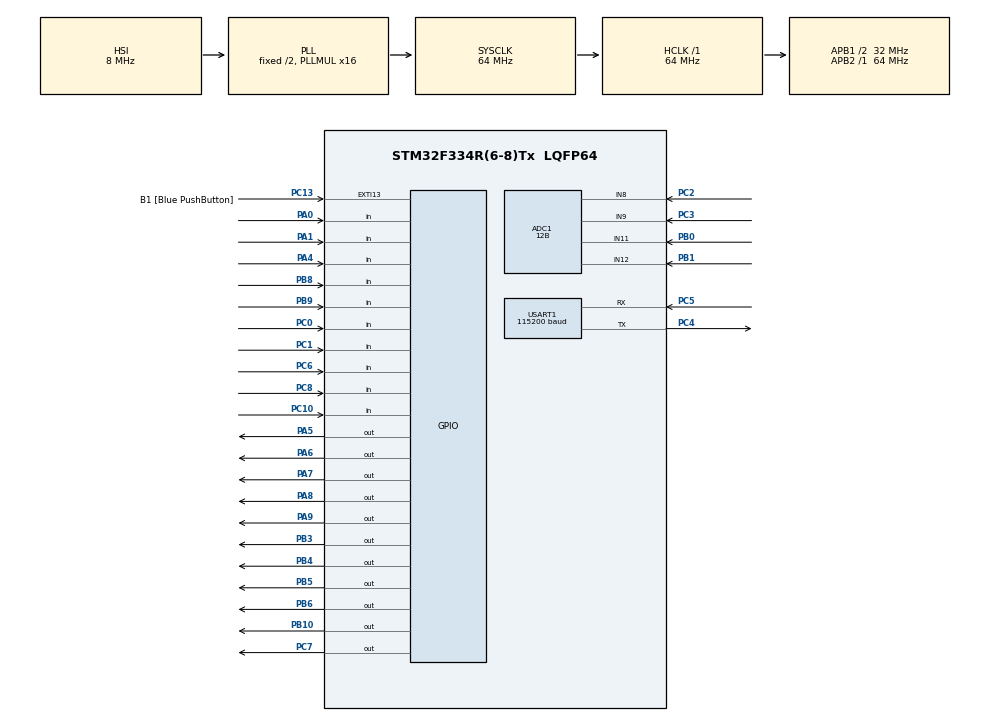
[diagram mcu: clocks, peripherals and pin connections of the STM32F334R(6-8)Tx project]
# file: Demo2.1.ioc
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ADC1.Channel-0\#ChannelRegularConversion=ADC_CHANNEL_9
ADC1.Channel-1\#ChannelRegularConversion=ADC_CHANNEL_8
ADC1.Channel-2\#ChannelRegularConversion=ADC_CHANNEL_12
ADC1.Channel-3\#ChannelRegularConversion=ADC_CHANNEL_11
ADC1.ClockPrescaler=ADC_CLOCK_ASYNC_DIV1
ADC1.ContinuousConvMode=ENABLE
ADC1.DMAContinuousRequests=DISABLE
ADC1.DataAlign=ADC_DATAALIGN_RIGHT
ADC1.DiscontinuousConvMode=DISABLE
ADC1.EOCSelection=ADC_EOC_SINGLE_CONV
ADC1.EnableAnalogWatchDog1=false
ADC1.EnableAnalogWatchDog2=false
ADC1.EnableAnalogWatchDog3=false
ADC1.EnableInjectedConversion=ENABLE
ADC1.EnableRegularConversion=ENABLE
ADC1.ExternalTrigConv=ADC_SOFTWARE_START
ADC1.ExternalTrigConvEdge=ADC_EXTERNALTRIGCONVEDGE_NONE
ADC1.InjNumberOfConversion=0
ADC1.LowPowerAutoWait=DISABLE
ADC1.NbrOfConversion=4
ADC1.NbrOfConversionFlag=1
ADC1.Offset-0\#ChannelRegularConversion=0
ADC1.Offset-1\#ChannelRegularConversion=0
ADC1.Offset-2\#ChannelRegularConversion=0
ADC1.Offset-3\#ChannelRegularConversion=0
ADC1.OffsetNumber-0\#ChannelRegularConversion=ADC_OFFSET_NONE
ADC1.OffsetNumber-1\#ChannelRegularConversion=ADC_OFFSET_NONE
ADC1.OffsetNumber-2\#ChannelRegularConversion=ADC_OFFSET_NONE
ADC1.OffsetNumber-3\#ChannelRegularConversion=ADC_OFFSET_NONE
ADC1.Overrun=ADC_OVR_DATA_OVERWRITTEN
ADC1.Rank-0\#ChannelRegularConversion=1
ADC1.Rank-1\#ChannelRegularConversion=2
ADC1.Rank-2\#ChannelRegularConversion=3
ADC1.Rank-3\#ChannelRegularConversion=4
ADC1.Resolution=ADC_RESOLUTION_12B
ADC1.SamplingTime-0\#ChannelRegularConversion=ADC_SAMPLETIME_181CYCLES_5
ADC1.SamplingTime-1\#ChannelRegularConversion=ADC_SAMPLETIME_181CYCLES_5
ADC1.SamplingTime-2\#ChannelRegularConversion=ADC_SAMPLETIME_181CYCLES_5
ADC1.SamplingTime-3\#ChannelRegularConversion=ADC_SAMPLETIME_181CYCLES_5
ADC1.ScanConvMode=ADC_SCAN_ENABLE
ADC1.SubFamily=STM32F334x8
ADC1.master=1
Mcu.Family=STM32F3
Mcu.Name=STM32F334R(6-8)Tx
Mcu.Package=LQFP64
NVIC.ADC1_2_IRQn=true\:0\:0\:false\:false\:true\:true
NVIC.PriorityGroup=NVIC_PRIORITYGROUP_0
NVIC.USART1_IRQn=true\:0\:0\:false\:false\:true\:true
PA0.Signal=GPIO_Input
PA1.Signal=GPIO_Input
PA13.GPIO_Label=TMS
PA13.Mode=Serial_Wire
PA13.Signal=SYS_JTMS-SWDIO
PA14.GPIO_Label=TCK
PA14.Mode=Serial_Wire
PA14.Signal=SYS_JTCK-SWCLK
PA2.GPIO_Label=USART_TX
PA2.Signal=USART2_TX
PA3.GPIO_Label=USART_RX
PA3.Signal=USART2_RX
PA4.Signal=GPIO_Input
PA5.Signal=GPIO_Output
PA6.Signal=GPIO_Output
PA7.Signal=GPIO_Output
PA8.Signal=GPIO_Output
PA9.Signal=GPIO_Output
PB0.Mode=IN11-Single-Ended
PB0.Signal=ADC1_IN11
PB1.Mode=IN12-Single-Ended
PB1.Signal=ADC1_IN12
PB10.Signal=GPIO_Output
PB3.Signal=GPIO_Output
PB4.Signal=GPIO_Output
PB5.Signal=GPIO_Output
PB6.Signal=GPIO_Output
PB8.Signal=GPIO_Input
PB9.Signal=GPIO_Input
PC0.Signal=GPIO_Input
PC1.Signal=GPIO_Input
PC10.Signal=GPIO_Input
PC13.GPIO_Label=B1 [Blue PushButton]
PC13.GPIO_ModeDefaultEXTI=GPIO_MODE_IT_FALLING
PC13.Signal=GPXTI13
PC14\ /\ OSC32_IN.Signal=RCC_OSC32_IN
PC15\ /\ OSC32_OUT.GPIO_Label=RCC_OSC32_OUT
PC15\ /\ OSC32_OUT.Signal=RCC_OSC32_OUT
PC2.Signal=ADCx_IN8
PC3.Signal=ADCx_IN9
PC4.Mode=Asynchronous
PC4.Signal=USART1_TX
PC5.Mode=Asynchronous
PC5.Signal=USART1_RX
PC6.Signal=GPIO_Input
PC7.Signal=GPIO_Output
PC8.Signal=GPIO_Input
PF0\ /\ OSC_IN.Signal=RCC_OSC_IN
PF1\ /\ OSC_OUT.Signal=RCC_OSC_OUT
ProjectManager.HeapSize=0x200
ProjectManager.StackSize=0x400
ProjectManager.TargetToolchain=TrueSTUDIO
RCC.ADC12PRES=RCC_ADC12PLLCLK_DIV128
RCC.AHBFreq_Value=64000000
RCC.APB1CLKDivider=RCC_HCLK_DIV2
RCC.APB1Freq_Value=32000000
RCC.APB1TimFreq_Value=64000000
RCC.APB2Freq_Value=64000000
RCC.APB2TimFreq_Value=64000000
RCC.CortexFreq_Value=64000000
RCC.FLatency-AdvancedSettings=FLASH_LATENCY_2
RCC.HCLKFreq_Value=64000000
RCC.HSE_VALUE=8000000
RCC.HSI_VALUE=8000000
RCC.LSE_VALUE=32768
RCC.PLLMUL=RCC_PLL_MUL16
RCC.SYSCLKFreq_VALUE=64000000
RCC.SYSCLKSourceVirtual=RCC_SYSCLKSOURCE_PLLCLK
SH.ADCx_IN8.0=ADC1_IN8,IN8-Single-Ended
SH.ADCx_IN9.0=ADC1_IN9,IN9-Single-Ended
USART1.BaudRate=115200
USART1.VirtualMode-Asynchronous=VM_ASYNC
USART1.WordLength=WORDLENGTH_8B
board=NUCLEO-F334R8

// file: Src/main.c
/**
  ******************************************************************************
  * @file           : main.c
  * @brief          : Main program body
  ******************************************************************************
  ** This notice applies to any and all portions of this file
  * that are not between comment pairs USER CODE BEGIN and
  * USER CODE END. Other portions of this file, whether
  * inserted by the user or by software development tools
  * are owned by their respective copyright owners.
  *
  * COPYRIGHT(c) 2018 STMicroelectronics
  *
  * Redistribution and use in source and binary forms, with or without modification,
  * are permitted provided that the following conditions are met:
  *   1. Redistributions of source code must retain the above copyright notice,
  *      this list of conditions and the following disclaimer.
  *   2. Redistributions in binary form must reproduce the above copyright notice,
  *      this list of conditions and the following disclaimer in the documentation
  *      and/or other materials provided with the distribution.
  *   3. Neither the name of STMicroelectronics nor the names of its contributors
  *      may be used to endorse or promote products derived from this software
  *      without specific prior written permission.
  *
  * THIS SOFTWARE IS PROVIDED BY THE COPYRIGHT HOLDERS AND CONTRIBUTORS "AS IS"
  * AND ANY EXPRESS OR IMPLIED WARRANTIES, INCLUDING, BUT NOT LIMITED TO, THE
  * IMPLIED WARRANTIES OF MERCHANTABILITY AND FITNESS FOR A PARTICULAR PURPOSE ARE
  * DISCLAIMED. IN NO EVENT SHALL THE COPYRIGHT HOLDER OR CONTRIBUTORS BE LIABLE
  * FOR ANY DIRECT, INDIRECT, INCIDENTAL, SPECIAL, EXEMPLARY, OR CONSEQUENTIAL
  * DAMAGES (INCLUDING, BUT NOT LIMITED TO, PROCUREMENT OF SUBSTITUTE GOODS OR
  * SERVICES; LOSS OF USE, DATA, OR PROFITS; OR BUSINESS INTERRUPTION) HOWEVER
  * CAUSED AND ON ANY THEORY OF LIABILITY, WHETHER IN CONTRACT, STRICT LIABILITY,
  * OR TORT (INCLUDING NEGLIGENCE OR OTHERWISE) ARISING IN ANY WAY OUT OF THE USE
  * OF THIS SOFTWARE, EVEN IF ADVISED OF THE POSSIBILITY OF SUCH DAMAGE.
  *
  ******************************************************************************
  */
#include "main.h"
#include "stm32f3xx_hal.h"

/* USER CODE BEGIN Includes */
#include <math.h>
#include <stdio.h>
/* USER CODE END Includes */

ADC_HandleTypeDef hadc1;

UART_HandleTypeDef huart1;

/* USER CODE BEGIN PV */
/* Private variables ---------------------------------------------------------*/
volatile uint8_t k_request = 0;
volatile uint8_t ReceiveFlag;
volatile uint8_t channel = 1;
volatile uint8_t LEDmsecCntr = 0;
volatile uint8_t LEDmsecFlag = 0;
volatile uint8_t FLOWmsecCntr = 0;
volatile uint32_t FLOW = 0;
volatile uint8_t ADCmsecCntr = 0;
volatile uint8_t ADCmsecFlag = 0;
volatile uint8_t cplt = 1;
volatile uint8_t noflow = 1;
volatile uint8_t state = 0;
volatile uint8_t prev = 0;
float Vdd = 3.3;
uint32_t V_RMS;
uint16_t I_RMS;
uint16_t TEMP1 = 0;
uint16_t TEMP2 = 0;
uint8_t num;
int Element = 0;
int ValveOpen = 0;
int kprocess = 1;

int16_t bits = 4095;
uint8_t TransmitBufferA[] = "$A,18301088\r\n";
uint8_t TransmitBufferF[] = "$F\r\n";
uint8_t TransmitBufferG[] = "$G,0\r\n";
uint8_t TransmitBufferGT[] = "$G,00\r\n";
uint8_t TransmitBufferGH[] = "$G,000\r\n";
uint8_t TransmitBufferK[35] = "$K,\r\n";

uint8_t ReceiveBuffer[1];
uint8_t count = 0;
uint8_t factorone = 0;
uint8_t factorten = 0;
uint8_t factorhundred = 0;
char HoldBuffer[10];
uint8_t TempBuffer[10];
uint8_t TempBufferD[10];
uint8_t SizeG = 10;
int16_t SignedInteger;
int16_t TempInteger = 0;
int16_t CurrentSignal;
int16_t VoltageSignal;
int16_t ADC_CurrentArray[71];
int16_t ADC_VoltageArray[71];
int16_t ADC_Temp1Array[71];
int16_t ADC_Temp2Array[71];
float VALUE_CurrentArray[71];
float VALUE_VoltageArray[71];
float VALUE_Temp1Array[71];
float VALUE_Temp2Array[71];
volatile uint8_t  ADCReceive = 1;
int c = 0;
int v = 0;
int t1 = 0;
int t2 = 0;
int bounce = 0;
float vnew[100];
float inew[100];
int inumvalue = 0;
int vnumvalue = 0;
int position = 0;

char ibuff[30];
char vbuff[30];
char t1buff[30];
char t2buff[30];
char flowbuff[30];
/* USER CODE END PV */

void SystemClock_Config(void);
static void MX_GPIO_Init(void);
static void MX_USART1_UART_Init(void);
static void MX_ADC1_Init(void);

/* USER CODE BEGIN PFP */
/* Private function prototypes -----------------------------------------------*/
void HAL_SYSTICK_Callback(void);
void Number_Display(int8_t d1,int8_t d2,int8_t d3,int8_t d4);
void Disable_Digits(void);
uint8_t Number_Maker(int16_t digit);
uint8_t Digit_Maker(int8_t digit);
void set_all(void);
void reset_all(void);
void ADCprocess(void);
uint8_t convertfromstring (char* string, int16_t* value);
uint8_t converttostring (int16_t* value, char* string, int16_t length);
void HAL_ADC_ConvCpltCallback(ADC_HandleTypeDef* hadc);
float vconvert(int16_t* v_convarray,float*v_address);
float iconvert(int16_t* i_convarray,float*i_address);
float t1convert(int16_t* t1_convarray);
float t2convert(int16_t* t2_convarray);

uint8_t Int2String(char* output_string, int32_t val, uint8_t maxlen);
//void InputK(void);
/* USER CODE END PFP */

int main(void)
{

  /* MCU Configuration----------------------------------------------------------*/

  /* Reset of all peripherals, Initializes the Flash interface and the Systick. */
  HAL_Init();

  /* Configure the system clock */
  SystemClock_Config();

  /* Initialize all configured peripherals */
  MX_GPIO_Init();
  MX_USART1_UART_Init();
  MX_ADC1_Init();
  /* USER CODE BEGIN 2 */
  HAL_UART_Receive_IT(&huart1, ReceiveBuffer,1);

  /* USER CODE END 2 */

  /* Infinite loop */
  /* USER CODE BEGIN WHILE */
  while (1)
  {

	  HAL_ADC_Start_IT(&hadc1);
	  Number_Maker(TempInteger);
	  if (ReceiveFlag)
	  {
	  	ReceiveFlag = 0;
	  	HAL_UART_Receive_IT(&huart1, ReceiveBuffer,1);
	  	HoldBuffer[count++]= ReceiveBuffer[0];

	  	if (ReceiveBuffer[0] == '\n')
	  	{
	  		HoldBuffer[count] = '\0';
	  		convertfromstring(HoldBuffer, &SignedInteger);

	  		if (HoldBuffer[0] == '$')
	  		{
	  			switch(HoldBuffer[1])
	  			{
	    	  	  	  	  	case 'A':
	    				    	HAL_UART_Transmit(&huart1, TransmitBufferA,sizeof(TransmitBufferA)-1,5);
	    				    	break;
	    	  	  	  	  	case 'B':
	    	  	  	  	  		ValveOpen = HoldBuffer[3];
	    	  	  	  	  		ValveOpen = ValveOpen - 48;
	    	  	  	  		    break;
	    	  	  	  		case 'D':
	    	  	  	  	  		Element = HoldBuffer[3];
	    	  	  	  	  		Element = Element - 48;
	    	  	  	  		    break;
	    				    case 'F':
	    				       	TempBuffer[0] = HoldBuffer[3];
	    				    	TempBuffer[1] = HoldBuffer[4];
	    				    	TempBuffer[2] = HoldBuffer[5];
	    				    	TempBuffer[3] = HoldBuffer[6];
	    				    	TempBuffer[4] = HoldBuffer[7];
	    				    	convertfromstring(HoldBuffer+3, &TempInteger);

	    				    	HAL_UART_Transmit(&huart1, TransmitBufferF,sizeof(TransmitBufferF)-1,5);
	    				    	break;
	    				    case 'G':
	    				    	if(TempBuffer[1] == '\r' && TempBuffer[2] == '\n')
	    				    	{
	    				    		TransmitBufferG[3] = TempBuffer[0];
	    				    		TransmitBufferG[4] = '\r';
	    				    		TransmitBufferG[5] = '\n';
	    				    		HAL_UART_Transmit(&huart1, TransmitBufferG,6,5);
	    				    	}
	    				    	if(TempBuffer[2] == '\r' && TempBuffer[3] == '\n')
	    						{
	    							TransmitBufferGT[3] = TempBuffer[0];
	    							TransmitBufferGT[4] = TempBuffer[1];
	    							TransmitBufferGT[5] = '\r';
	    							TransmitBufferGT[6] = '\n';
	    							HAL_UART_Transmit(&huart1, TransmitBufferGT,7,5);
	    						}
	    				    	if(TempBuffer[3] == '\r' && TempBuffer[4] == '\n')
	    						{
	    							TransmitBufferGH[3] = TempBuffer[0];
	    							TransmitBufferGH[4] = TempBuffer[1];
	    							TransmitBufferGH[5] = TempBuffer[2];
	    							TransmitBufferGH[6] = '\r';
	    							TransmitBufferGH[7] = '\n';
	    							HAL_UART_Transmit(&huart1, TransmitBufferGH,8,5);
	    						}
	    				    	break;
	    				    case 'K':
	    				    {
//	    				      	HAL_ADC_Stop(&hadc1);
	    				    	I_RMS = iconvert(ADC_CurrentArray,VALUE_CurrentArray);
	    				    	V_RMS = vconvert(ADC_VoltageArray,VALUE_VoltageArray);
	    				    	TEMP1 = t1convert(ADC_Temp1Array);
	    				    	TEMP2 = t2convert(ADC_Temp2Array);
	    				    	//kprocess = 1;
	    				      	num = Int2String(ibuff,I_RMS,10);
	    				      	inumvalue = num;
	    				      	position = 3+inumvalue;
	    				      	while (num >0)
	    				      	{
	    				      		TransmitBufferK[position-num] = ibuff[inumvalue-num];
									num--;
	    				      	}
	    				      	TransmitBufferK[position] = 0x2C;
	    				      	position = position + 1;
	    				      	num = Int2String(vbuff,V_RMS,10);
	    				      	vnumvalue = num;
	    				      	position = position + vnumvalue;
	    				      	while (num >0)
	    				      	{
	    				      		TransmitBufferK[position-num] = vbuff[vnumvalue-num];
									num--;
	    				      	}
	    				      	TransmitBufferK[position] = 0x2C;
	    				      	position = position + 1;
	    				      	num = Int2String(t1buff,TEMP1,10);
	    				      	vnumvalue = num;
	    				      	position = position + vnumvalue;
	    				      	while (num >0)
	    				      	{
	    				      		TransmitBufferK[position-num] = t1buff[vnumvalue-num];
									num--;
	    				      	}
	    				      	TransmitBufferK[position] = 0x2C;
	    				      	position++;
	    				      	num = Int2String(t2buff,TEMP2,10);
	    				      	vnumvalue = num;
	    				      	position = position + vnumvalue;
	    				      	while (num >0)
	    				      	{
	    				      		TransmitBufferK[position-num] = t2buff[vnumvalue-num];
									num--;
	    				      	}
	    				      	TransmitBufferK[position] = 0x2C;
	    				      	position++;
	    				      	num = Int2String(flowbuff,FLOW,10);
	    				      	vnumvalue = num;
	    				      	position = position + vnumvalue;
	    				      	while (num >0)
	    				      	{
	    				      		TransmitBufferK[position-num] = flowbuff[vnumvalue-num];
									num--;
	    				      	}
	    				      	TransmitBufferK[position] = 0x2C;
	    				      	position++;
    				      		TransmitBufferK[position] = 'O';
    				      		position++;

	    				      	if(Element==1)
	    				      	{
	    				      		TransmitBufferK[position] = 'N';
	    				      		position++;
	    				      	}
	    				      	if(Element==0)
	    				      	{
	    				      		TransmitBufferK[position] = 'F';
	    				      		position++;
	    				      		TransmitBufferK[position] = 'F';
	    				      		position++;
	    				      	}
	    				      	TransmitBufferK[position] = 0x2C;
	    				      	position++;
	    				      	if(ValveOpen==1)
	    				      	{
	    				      		TransmitBufferK[position] = 'O';
	    				      		position++;
	    				      		TransmitBufferK[position] = 'P';
	    				      		position++;
	    				      		TransmitBufferK[position] = 'E';
	    				      		position++;
    				      			TransmitBufferK[position] = 'N';
    				      			position++;
	    				      	}
    				      		if(ValveOpen==0)
	    				      	{
	    				      		TransmitBufferK[position] = 'C';
	    				      		position++;
	    				      		TransmitBufferK[position] = 'L';
	    				      		position++;
	    				      		TransmitBufferK[position] = 'O';
	    				      		position++;
    				      			TransmitBufferK[position] = 'S';
    				      			position++;
	    				      		TransmitBufferK[position] = 'E';
	    				      		position++;
	    				      		TransmitBufferK[position] = 'D';
	    				      		position++;
	    				    	}

				      		TransmitBufferK[position] = '\r';
				      		position++;
				      		TransmitBufferK[position] = '\n';
				      		HAL_UART_Transmit(&huart1, TransmitBufferK,position+1,5);
	    				    }
	    						break;

	  			}
	  		}
	  		count = 0;
	  	}

	  }

  /* USER CODE END WHILE */

  }

}

void SystemClock_Config(void)
{

  RCC_OscInitTypeDef RCC_OscInitStruct;
  RCC_ClkInitTypeDef RCC_ClkInitStruct;
  RCC_PeriphCLKInitTypeDef PeriphClkInit;

    /**Initializes the CPU, AHB and APB busses clocks
    */
  RCC_OscInitStruct.OscillatorType = RCC_OSCILLATORTYPE_HSI;
  RCC_OscInitStruct.HSIState = RCC_HSI_ON;
  RCC_OscInitStruct.HSICalibrationValue = 16;
  RCC_OscInitStruct.PLL.PLLState = RCC_PLL_ON;
  RCC_OscInitStruct.PLL.PLLSource = RCC_PLLSOURCE_HSI;
  RCC_OscInitStruct.PLL.PLLMUL = RCC_PLL_MUL16;
  if (HAL_RCC_OscConfig(&RCC_OscInitStruct) != HAL_OK)
  {
    _Error_Handler(__FILE__, __LINE__);
  }

    /**Initializes the CPU, AHB and APB busses clocks
    */
  RCC_ClkInitStruct.ClockType = RCC_CLOCKTYPE_HCLK|RCC_CLOCKTYPE_SYSCLK
                              |RCC_CLOCKTYPE_PCLK1|RCC_CLOCKTYPE_PCLK2;
  RCC_ClkInitStruct.SYSCLKSource = RCC_SYSCLKSOURCE_PLLCLK;
  RCC_ClkInitStruct.AHBCLKDivider = RCC_SYSCLK_DIV1;
  RCC_ClkInitStruct.APB1CLKDivider = RCC_HCLK_DIV2;
  RCC_ClkInitStruct.APB2CLKDivider = RCC_HCLK_DIV1;

  if (HAL_RCC_ClockConfig(&RCC_ClkInitStruct, FLASH_LATENCY_2) != HAL_OK)
  {
    _Error_Handler(__FILE__, __LINE__);
  }

  PeriphClkInit.PeriphClockSelection = RCC_PERIPHCLK_USART1|RCC_PERIPHCLK_ADC12;
  PeriphClkInit.Usart1ClockSelection = RCC_USART1CLKSOURCE_PCLK1;
  PeriphClkInit.Adc12ClockSelection = RCC_ADC12PLLCLK_DIV128;
  if (HAL_RCCEx_PeriphCLKConfig(&PeriphClkInit) != HAL_OK)
  {
    _Error_Handler(__FILE__, __LINE__);
  }

    /**Configure the Systick interrupt time
    */
  HAL_SYSTICK_Config(HAL_RCC_GetHCLKFreq()/1000);

    /**Configure the Systick
    */
  HAL_SYSTICK_CLKSourceConfig(SYSTICK_CLKSOURCE_HCLK);

  /* SysTick_IRQn interrupt configuration */
  HAL_NVIC_SetPriority(SysTick_IRQn, 0, 0);
}

/* ADC1 init function */
static void MX_ADC1_Init(void)
{

  ADC_MultiModeTypeDef multimode;
  ADC_ChannelConfTypeDef sConfig;

    /**Common config
    */
  hadc1.Instance = ADC1;
  hadc1.Init.ClockPrescaler = ADC_CLOCK_ASYNC_DIV1;
  hadc1.Init.Resolution = ADC_RESOLUTION_12B;
  hadc1.Init.ScanConvMode = ADC_SCAN_ENABLE;
  hadc1.Init.ContinuousConvMode = ENABLE;
  hadc1.Init.DiscontinuousConvMode = DISABLE;
  hadc1.Init.ExternalTrigConvEdge = ADC_EXTERNALTRIGCONVEDGE_NONE;
  hadc1.Init.ExternalTrigConv = ADC_SOFTWARE_START;
  hadc1.Init.DataAlign = ADC_DATAALIGN_RIGHT;
  hadc1.Init.NbrOfConversion = 4;
  hadc1.Init.DMAContinuousRequests = DISABLE;
  hadc1.Init.EOCSelection = ADC_EOC_SINGLE_CONV;
  hadc1.Init.LowPowerAutoWait = DISABLE;
  hadc1.Init.Overrun = ADC_OVR_DATA_OVERWRITTEN;
  if (HAL_ADC_Init(&hadc1) != HAL_OK)
  {
    _Error_Handler(__FILE__, __LINE__);
  }

    /**Configure the ADC multi-mode
    */
  multimode.Mode = ADC_MODE_INDEPENDENT;
  if (HAL_ADCEx_MultiModeConfigChannel(&hadc1, &multimode) != HAL_OK)
  {
    _Error_Handler(__FILE__, __LINE__);
  }

    /**Configure Regular Channel
    */
  sConfig.Channel = ADC_CHANNEL_9;
  sConfig.Rank = ADC_REGULAR_RANK_1;
  sConfig.SingleDiff = ADC_SINGLE_ENDED;
  sConfig.SamplingTime = ADC_SAMPLETIME_181CYCLES_5;
  sConfig.OffsetNumber = ADC_OFFSET_NONE;
  sConfig.Offset = 0;
  if (HAL_ADC_ConfigChannel(&hadc1, &sConfig) != HAL_OK)
  {
    _Error_Handler(__FILE__, __LINE__);
  }

    /**Configure Regular Channel
    */
  sConfig.Channel = ADC_CHANNEL_8;
  sConfig.Rank = ADC_REGULAR_RANK_2;
  if (HAL_ADC_ConfigChannel(&hadc1, &sConfig) != HAL_OK)
  {
    _Error_Handler(__FILE__, __LINE__);
  }

    /**Configure Regular Channel
    */
  sConfig.Channel = ADC_CHANNEL_12;
  sConfig.Rank = ADC_REGULAR_RANK_3;
  if (HAL_ADC_ConfigChannel(&hadc1, &sConfig) != HAL_OK)
  {
    _Error_Handler(__FILE__, __LINE__);
  }

    /**Configure Regular Channel
    */
  sConfig.Channel = ADC_CHANNEL_11;
  sConfig.Rank = ADC_REGULAR_RANK_4;
  if (HAL_ADC_ConfigChannel(&hadc1, &sConfig) != HAL_OK)
  {
    _Error_Handler(__FILE__, __LINE__);
  }

}

/* USART1 init function */
static void MX_USART1_UART_Init(void)
{

  huart1.Instance = USART1;
  huart1.Init.BaudRate = 115200;
  huart1.Init.WordLength = UART_WORDLENGTH_8B;
  huart1.Init.StopBits = UART_STOPBITS_1;
  huart1.Init.Parity = UART_PARITY_NONE;
  huart1.Init.Mode = UART_MODE_TX_RX;
  huart1.Init.HwFlowCtl = UART_HWCONTROL_NONE;
  huart1.Init.OverSampling = UART_OVERSAMPLING_16;
  huart1.Init.OneBitSampling = UART_ONE_BIT_SAMPLE_DISABLE;
  huart1.AdvancedInit.AdvFeatureInit = UART_ADVFEATURE_NO_INIT;
  if (HAL_UART_Init(&huart1) != HAL_OK)
  {
    _Error_Handler(__FILE__, __LINE__);
  }

}

/** Configure pins as
        * Analog
        * Input
        * Output
        * EVENT_OUT
        * EXTI
     PA2   ------> USART2_TX
     PA3   ------> USART2_RX
*/

static void MX_GPIO_Init(void)
{

  GPIO_InitTypeDef GPIO_InitStruct;

  /* GPIO Ports Clock Enable */
  __HAL_RCC_GPIOC_CLK_ENABLE();
  __HAL_RCC_GPIOF_CLK_ENABLE();
  __HAL_RCC_GPIOA_CLK_ENABLE();
  __HAL_RCC_GPIOB_CLK_ENABLE();

  /*Configure GPIO pin Output Level */
  HAL_GPIO_WritePin(GPIOA, GPIO_PIN_5|GPIO_PIN_6|GPIO_PIN_7|GPIO_PIN_8
                          |GPIO_PIN_9, GPIO_PIN_RESET);

  /*Configure GPIO pin Output Level */
  HAL_GPIO_WritePin(GPIOB, GPIO_PIN_10|GPIO_PIN_3|GPIO_PIN_4|GPIO_PIN_5
                          |GPIO_PIN_6, GPIO_PIN_RESET);

  /*Configure GPIO pin Output Level */
  HAL_GPIO_WritePin(GPIOC, GPIO_PIN_7, GPIO_PIN_RESET);

  /*Configure GPIO pin : B1_Pin */
  GPIO_InitStruct.Pin = B1_Pin;
  GPIO_InitStruct.Mode = GPIO_MODE_IT_FALLING;
  GPIO_InitStruct.Pull = GPIO_NOPULL;
  HAL_GPIO_Init(B1_GPIO_Port, &GPIO_InitStruct);

  /*Configure GPIO pins : PC0 PC1 PC6 PC8
                           PC10 */
  GPIO_InitStruct.Pin = GPIO_PIN_0|GPIO_PIN_1|GPIO_PIN_6|GPIO_PIN_8
                          |GPIO_PIN_10;
  GPIO_InitStruct.Mode = GPIO_MODE_INPUT;
  GPIO_InitStruct.Pull = GPIO_NOPULL;
  HAL_GPIO_Init(GPIOC, &GPIO_InitStruct);

  /*Configure GPIO pins : PA0 PA1 PA4 */
  GPIO_InitStruct.Pin = GPIO_PIN_0|GPIO_PIN_1|GPIO_PIN_4;
  GPIO_InitStruct.Mode = GPIO_MODE_INPUT;
  GPIO_InitStruct.Pull = GPIO_NOPULL;
  HAL_GPIO_Init(GPIOA, &GPIO_InitStruct);

  /*Configure GPIO pins : USART_TX_Pin USART_RX_Pin */
  GPIO_InitStruct.Pin = USART_TX_Pin|USART_RX_Pin;
  GPIO_InitStruct.Mode = GPIO_MODE_AF_PP;
  GPIO_InitStruct.Pull = GPIO_NOPULL;
  GPIO_InitStruct.Speed = GPIO_SPEED_FREQ_HIGH;
  GPIO_InitStruct.Alternate = GPIO_AF7_USART2;
  HAL_GPIO_Init(GPIOA, &GPIO_InitStruct);

  /*Configure GPIO pins : PA5 PA6 PA7 PA8
                           PA9 */
  GPIO_InitStruct.Pin = GPIO_PIN_5|GPIO_PIN_6|GPIO_PIN_7|GPIO_PIN_8
                          |GPIO_PIN_9;
  GPIO_InitStruct.Mode = GPIO_MODE_OUTPUT_PP;
  GPIO_InitStruct.Pull = GPIO_NOPULL;
  GPIO_InitStruct.Speed = GPIO_SPEED_FREQ_LOW;
  HAL_GPIO_Init(GPIOA, &GPIO_InitStruct);

  /*Configure GPIO pins : PB10 PB3 PB4 PB5
                           PB6 */
  GPIO_InitStruct.Pin = GPIO_PIN_10|GPIO_PIN_3|GPIO_PIN_4|GPIO_PIN_5
                          |GPIO_PIN_6;
  GPIO_InitStruct.Mode = GPIO_MODE_OUTPUT_PP;
  GPIO_InitStruct.Pull = GPIO_NOPULL;
  GPIO_InitStruct.Speed = GPIO_SPEED_FREQ_LOW;
  HAL_GPIO_Init(GPIOB, &GPIO_InitStruct);

  /*Configure GPIO pin : PC7 */
  GPIO_InitStruct.Pin = GPIO_PIN_7;
  GPIO_InitStruct.Mode = GPIO_MODE_OUTPUT_PP;
  GPIO_InitStruct.Pull = GPIO_NOPULL;
  GPIO_InitStruct.Speed = GPIO_SPEED_FREQ_LOW;
  HAL_GPIO_Init(GPIOC, &GPIO_InitStruct);

  /*Configure GPIO pins : PB8 PB9 */
  GPIO_InitStruct.Pin = GPIO_PIN_8|GPIO_PIN_9;
  GPIO_InitStruct.Mode = GPIO_MODE_INPUT;
  GPIO_InitStruct.Pull = GPIO_NOPULL;
  HAL_GPIO_Init(GPIOB, &GPIO_InitStruct);

}

/* USER CODE BEGIN 4 */
uint8_t Digit_Maker(int8_t digit)
{
  // PB10 (DIGIT 1) PB4 (DIGIT 2) PB5 (DIGIT 3) PB3 (DIGIT 4)
  // PA5=(SEG1) PA6=(SEG2) PA7=(SEG3) PB6=(SEG 4) PC7=(SEG5) PA9=(SEG 6) PA8=(SEG 7)
	switch (digit)
	{
	case 0x01:
		set_all();
		HAL_GPIO_WritePin(GPIOA,GPIO_PIN_6,GPIO_PIN_RESET); //2
		HAL_GPIO_WritePin(GPIOA,GPIO_PIN_7,GPIO_PIN_RESET); //3
		  break;
	case 0x02:
		reset_all();
		HAL_GPIO_WritePin(GPIOA,GPIO_PIN_7,GPIO_PIN_SET); //3
		HAL_GPIO_WritePin(GPIOA,GPIO_PIN_8,GPIO_PIN_SET); //7

		break;
	case 0x03:
		reset_all();
		HAL_GPIO_WritePin(GPIOC,GPIO_PIN_7,GPIO_PIN_SET); //5
		HAL_GPIO_WritePin(GPIOA,GPIO_PIN_8,GPIO_PIN_SET); //7
		break;
	case 0x04:
		reset_all();
		HAL_GPIO_WritePin(GPIOA,GPIO_PIN_5,GPIO_PIN_SET); //1
		HAL_GPIO_WritePin(GPIOB,GPIO_PIN_6,GPIO_PIN_SET); //4
		HAL_GPIO_WritePin(GPIOC,GPIO_PIN_7,GPIO_PIN_SET); //5
		break;
	case 0x05:
		reset_all();
		HAL_GPIO_WritePin(GPIOA,GPIO_PIN_6,GPIO_PIN_SET); //2
		HAL_GPIO_WritePin(GPIOC,GPIO_PIN_7,GPIO_PIN_SET); //5
		break;
	case 0x06:
		reset_all();
		HAL_GPIO_WritePin(GPIOA,GPIO_PIN_6,GPIO_PIN_SET); //2
		break;
	case 0x07:
		set_all();
		HAL_GPIO_WritePin(GPIOA,GPIO_PIN_5,GPIO_PIN_RESET); //1
		HAL_GPIO_WritePin(GPIOA,GPIO_PIN_6,GPIO_PIN_RESET); //2
		HAL_GPIO_WritePin(GPIOA,GPIO_PIN_7,GPIO_PIN_RESET); //3
		break;
	case 0x08:
		reset_all();
		break;
	case 0x09:
		reset_all();
		HAL_GPIO_WritePin(GPIOC,GPIO_PIN_7,GPIO_PIN_SET); //5
		break;
	case 0x00:
		reset_all();
		HAL_GPIO_WritePin(GPIOA,GPIO_PIN_9,GPIO_PIN_SET); //6
		break;
	}

	return 1;
}

uint8_t Number_Maker(int16_t number)
{
	int8_t minus =-1;
	int8_t digit4 =0;
	int8_t digit3 =0;
	int8_t digit2 =0;
	int8_t digit1 =0;
	if (number < 0)
	{
		number = number * minus;
	}

	digit4 = number % 10;
	number = number/10;
	digit3 = number % 10;
	number = number/10;
	digit2 = number % 10;
	number = number/10;
	digit1 = number % 10;

	Number_Display(digit1, digit2, digit3, digit4);
	return 1;
}

void Number_Display(int8_t d1,int8_t d2,int8_t d3,int8_t d4)
{
	int process = 1;
	int d1cplt = 0;
	int d2cplt = 0;
	int d3cplt = 0;
	int d4cplt = 0;

	while (process)
	{

		if(d1==0)
		{
			d1cplt = 1;
			HAL_GPIO_WritePin(GPIOB,GPIO_PIN_10,GPIO_PIN_SET);
			if(d2==0)
			{
				d2cplt = 1;
				HAL_GPIO_WritePin(GPIOB,GPIO_PIN_4,GPIO_PIN_SET);
				if(d3==0)
				{
					d3cplt = 1;
					HAL_GPIO_WritePin(GPIOB,GPIO_PIN_5,GPIO_PIN_SET);
				}
			}
		}

	if (LEDmsecFlag==1 && d1cplt==0)
		{
		LEDmsecFlag = 0;
		Disable_Digits();
				HAL_GPIO_WritePin(GPIOB,GPIO_PIN_10,GPIO_PIN_RESET);
				Digit_Maker(d1);
		d1cplt=1;
		}
	if (LEDmsecFlag==1 && d1cplt==1 && d2cplt==0)
		{
		LEDmsecFlag = 0;
		Disable_Digits();
				HAL_GPIO_WritePin(GPIOB,GPIO_PIN_4,GPIO_PIN_RESET);
				Digit_Maker(d2);
		d2cplt=1;
		}
	if (LEDmsecFlag==1 && d1cplt==1 && d2cplt==1 && d3cplt==0)
		{
		LEDmsecFlag = 0;
		Disable_Digits();
				HAL_GPIO_WritePin(GPIOB,GPIO_PIN_5,GPIO_PIN_RESET);
				Digit_Maker(d3);
		d3cplt=1;
		}
	if (LEDmsecFlag==1 && d1cplt==1 && d2cplt==1 && d3cplt==1 && d4cplt==0)
		{
		LEDmsecFlag = 0;
		Disable_Digits();
		HAL_GPIO_WritePin(GPIOB,GPIO_PIN_3,GPIO_PIN_RESET);
		Digit_Maker(d4);
		d4cplt=1;
		}
	if (d4cplt == 1)
	{
		d1cplt = 0;
		d2cplt = 0;
		d3cplt = 0;
		d4cplt = 0;
	}
	if (ReceiveFlag == 1 || ADCmsecFlag == 1)
	{
		process = 0;
	}
	}
}

void Disable_Digits(void)
{
	  HAL_GPIO_WritePin(GPIOB,GPIO_PIN_10,GPIO_PIN_SET); //1
	  HAL_GPIO_WritePin(GPIOB,GPIO_PIN_4,GPIO_PIN_SET); //2
	  HAL_GPIO_WritePin(GPIOB,GPIO_PIN_5,GPIO_PIN_SET); //3
	  HAL_GPIO_WritePin(GPIOB,GPIO_PIN_3,GPIO_PIN_SET); //4
}

void set_all(void)
{
	  HAL_GPIO_WritePin(GPIOA,GPIO_PIN_5,GPIO_PIN_SET); //1
	  HAL_GPIO_WritePin(GPIOA,GPIO_PIN_6,GPIO_PIN_SET); //2
	  HAL_GPIO_WritePin(GPIOA,GPIO_PIN_7,GPIO_PIN_SET); //3
	  HAL_GPIO_WritePin(GPIOB,GPIO_PIN_6,GPIO_PIN_SET); //4
	  HAL_GPIO_WritePin(GPIOC,GPIO_PIN_7,GPIO_PIN_SET); //5
	  HAL_GPIO_WritePin(GPIOA,GPIO_PIN_9,GPIO_PIN_SET); //6
	  HAL_GPIO_WritePin(GPIOA,GPIO_PIN_8,GPIO_PIN_SET); //7
}

void reset_all(void)
{
	  HAL_GPIO_WritePin(GPIOA,GPIO_PIN_5,GPIO_PIN_RESET); //1
	  HAL_GPIO_WritePin(GPIOA,GPIO_PIN_6,GPIO_PIN_RESET); //2
	  HAL_GPIO_WritePin(GPIOA,GPIO_PIN_7,GPIO_PIN_RESET); //3
	  HAL_GPIO_WritePin(GPIOB,GPIO_PIN_6,GPIO_PIN_RESET); //4
	  HAL_GPIO_WritePin(GPIOC,GPIO_PIN_7,GPIO_PIN_RESET); //5
	  HAL_GPIO_WritePin(GPIOA,GPIO_PIN_9,GPIO_PIN_RESET); //6
	  HAL_GPIO_WritePin(GPIOA,GPIO_PIN_8,GPIO_PIN_RESET); //7
}

uint8_t convertfromstring (char* string, int16_t* value)
{
	int16_t minus = 1;
	int16_t sum = 0;
	if (*string == '\0')
	{
		return 0;
	}
	if (*string == '-')
	{
		minus = -1;
		string++;
	}
	while ((*string >= '0') &&(*string <= '9'))
	{
		sum = 10 * sum;
		sum = sum + (*string - 0x30);
		string++;
	}

	*value = minus * sum;
	return 1;
}

//uint8_t converttostring (int16_t* value, char* string, int16_t length)
//{
//	int8_t minus =-1;
//	int8_t digit[10];
//	int8_t number;
//	int8_t count2;
//	int8_t num;
//
//while(count2<length)
//{
//	digit[count2] = *value % 10;
//	number = *value/10;
//	count2++;
//
//	if (number == 0)
//	{
//		num = count2;
//		count2 = length;
//	}
//}
//count2 = 0;
//while(num>=0)
//{
//	*string = digit[num] - 0x30;
//	string++;
//	num--;
//}
//	return 1;
//}

void HAL_SYSTICK_Callback(void)
{

	LEDmsecCntr++; // New millisecond timer for LED
	state = HAL_GPIO_ReadPin(GPIOC,GPIO_PIN_10);

	     if (LEDmsecCntr>3)
	     {
	    	 LEDmsecCntr=0;
	    	 LEDmsecFlag = 1; // Flag to indicate 3ms event
	     }
	     if(FLOWmsecCntr>6)
	     {
	    	 bounce = 0;
	    	 if ((prev ^ state) == 1)
	    	 {
	    		 FLOW = FLOW + 100;
	    		 prev = state;
	    	 }
	     }

	     if(bounce)
	     {
	    	 FLOWmsecCntr++;
	     }

	     if(noflow)
	     {
	     if (HAL_GPIO_ReadPin(GPIOC,GPIO_PIN_10) == 1U)
	     {
	    	 bounce = 1;
	    	 noflow = 0;
	     }
	     }

}

void HAL_ADC_ConvCpltCallback(ADC_HandleTypeDef* hadc)
{
	switch(channel)
	{
	case '\001':
		if(c<70)
		{
	        	ADC_CurrentArray[c]=HAL_ADC_GetValue(&hadc1);
	        	c++;
	        	channel=2;
		}
		break;
	case '\002':
		if(v<70)
		{
		        ADC_VoltageArray[v]=HAL_ADC_GetValue(&hadc1);
	        	v++;
	        	channel=3;
		}
		break;
	case '\003':
		if(t1<70)
		{
				ADC_Temp1Array[t1]=HAL_ADC_GetValue(&hadc1);
				t1++;
				channel=4;
		}
		break;
	case '\004':
		if(t2<70)
		{
				ADC_Temp2Array[t2]=HAL_ADC_GetValue(&hadc1);
				t2++;
				channel=1;
		}
		break;
	}

	if(c==70 && v==70 && t1==70 && t2==70)
		{
			c=0;
			v=0;
			t1=0;
			t2=0;
			HAL_ADC_Stop_IT(&hadc1);
		}
}

float vconvert(int16_t* v_convarray, float* v_address)
{
	int vcount = 0;
	int vsumcount = 0;
	float vnew = 0;
	float vrms = 0;
	float vsum = 0;
	float vsquare = 0;

	while (vcount<71)
	{
	vnew = *v_convarray; //turns into millivolts
	vnew = vnew - 1860.265;
	vnew = vnew * Vdd;
	vnew = vnew * 1000; //turns into millivolts
	vnew = vnew * 220;
	vnew = vnew / 4095;

	*v_address = vnew;
	v_address++;
	v_convarray++;
	vcount++;
	}

	while (vsumcount<71)
	{
		vsquare =  VALUE_VoltageArray[vsumcount] * VALUE_VoltageArray[vsumcount];
		vsum = vsum+vsquare;
		vsumcount++;
	}

	vrms = sqrtf(vsum/70);
	if (vrms>200000)
	{
		vrms=0;
	}
	return vrms;
}

float iconvert(int16_t* i_convarray, float*i_address)
{
	int icount = 0;
	float inew = 0;
	int isumcount = 0;
	float irms = 0;
	float isum = 0;
	float isquare = 0;

	while (icount<71)
	{
	inew = *i_convarray; //turns into millivolts
	inew = inew - 1860.265;
	inew = inew * Vdd;
	inew = inew * 1000; //turns into millivolts
	inew = inew * 13;
	inew = inew / 4095;

	*i_address = inew;
	i_address++;
	i_convarray++;
	icount++;
	}

	while (isumcount<71)
	{
		isquare =  VALUE_CurrentArray[isumcount] * VALUE_CurrentArray[isumcount];
		isum = isum+isquare;
		isumcount++;
	}

	irms = sqrtf(isum/70);

	if (irms>10000)
		{
			irms=0;
		}
	return irms;
}

float t1convert(int16_t* t1_convarray)
{
	float t1new = 0;

	t1new = *t1_convarray;
	t1new = t1new - 620.4545455;
	t1new = t1new * 3.3;
	t1new = t1new / 4095;
	t1new = t1new * 100; //conversion to celsius

	return t1new;
}

float t2convert(int16_t* t2_convarray)
{
	float t2new = 0;

	t2new = *t2_convarray;
	t2new = t2new - 620.4545455;
	t2new = t2new * 3.3;
	t2new = t2new / 4095;
	t2new = t2new * 100; //conversion to celsius

	return t2new;
}

uint8_t Int2String(char* output_string, int32_t val, uint8_t maxlen)
{
	if (maxlen == 0)
		return 0;

	int numwritten = 0;

	if (val < 0)
	{
		output_string[0] = '-';
		output_string++;
		maxlen--;
		val = -val;
		numwritten = 1;
	}

	uint8_t digits = 0;
	if (val < 10)
		digits = 1;
	else if (val < 100)
		digits = 2;
	else if (val < 1000)
		digits = 3;
	else if (val < 10000)
		digits = 4;
	else
		digits = 5;

	if (digits > maxlen)
		return 0; // error - not enough space in output string!

	int writepos = digits;
	while (writepos > 0)
	{
		output_string[writepos-1] = (char) ((val % 10) + 48);
		val /= 10;
		writepos--;
		numwritten++;
	}

	return numwritten;
}
/* USER CODE END 4 */

void _Error_Handler(char *file, int line)
{
}

/************************ (C) COPYRIGHT STMicroelectronics *****END OF FILE****/
